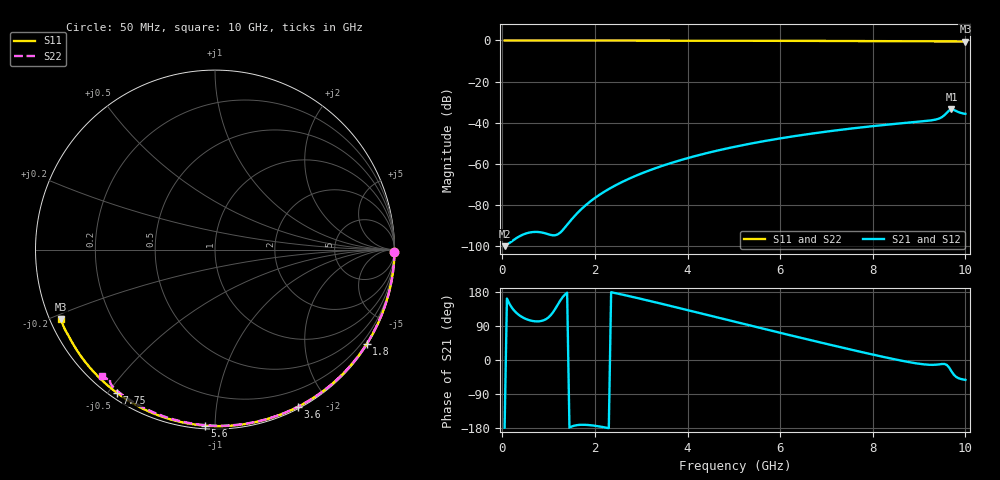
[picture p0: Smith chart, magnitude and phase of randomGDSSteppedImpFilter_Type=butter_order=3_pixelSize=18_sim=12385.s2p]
! freq	dB(S11)	phase(S11)	dB(S12)	phase(S12)
!  dB(S21)	phase(S21)	dB(S22)	phase(S22)
!S-par simulation data
#  GHz  S  DB  R 50
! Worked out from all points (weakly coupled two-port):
!   200 points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, 50 MHz to 10 GHz, reference 50 ohm
!   highest |S21| = -33.61 dB at 9.7 GHz (marker M1); lowest = -100.2 dB at 50 MHz (marker M2)
!   lowest |S11| = -0.5 dB at 10 GHz (marker M3), VSWR 33.98, Z = 1.54 - j10.7 ohm
!   |S11| at or under -10 dB: nowhere
!   |S22| runs from -0.7 to 0.0 dB; largest |S21 - S12| = 0
!   S11 on the Smith chart (normalised r, x): 50 MHz: open; 1.8 GHz: 0.03, -3.49; 3.6 GHz: 0.02, -1.66; 5.6 GHz: 0.02, -0.94; 7.75 GHz: 0.02, -0.53; 10 GHz: 0.03, -0.21
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0.05  -0.00 -0.9  -100.19 -178.5  -100.19 -178.5  -0.00 -0.8
0.85  -0.02 -15.3  -93.53 103.2  -93.53 103.2  -0.01 -12.9
1.75  -0.04 -31.1  -81.26 -170.9  -81.26 -170.9  -0.03 -26.3
1.8  -0.04 -32.0  -80.26 -171.1  -80.26 -171.1  -0.03 -27.1
2.15  -0.05 -38.0  -74.42 -176.5  -74.42 -176.5  -0.04 -32.2
2.5  -0.06 -44.0  -69.91 175.0  -69.91 175.0  -0.05 -37.3
2.9  -0.07 -50.7  -65.74 164.0  -65.74 164.0  -0.06 -43.1
3.4  -0.08 -59.0  -61.49 149.5  -61.49 149.5  -0.07 -50.2
3.6  -0.08 -62.3  -60.00 143.6  -60.00 143.6  -0.07 -53.0
4.3  -0.10 -73.5  -55.52 122.7  -55.52 122.7  -0.09 -62.6
5.05  -0.13 -85.1  -51.64 100.1  -51.64 100.1  -0.11 -72.6
5.6  -0.16 -93.4  -49.25 83.6  -49.25 83.6  -0.13 -79.8
6.7  -0.21 -109.4  -45.31 51.2  -45.31 51.2  -0.18 -93.6
7.75  -0.29 -124.3  -42.34 21.2  -42.34 21.2  -0.24 -106.3
8.35  -0.34 -132.7  -40.92 5.0  -40.92 5.0  -0.29 -113.4
9.15  -0.43 -143.8  -39.24 -12.1  -39.24 -12.1  -0.36 -122.8
9.35  -0.45 -146.6  -38.56 -12.6  -38.56 -12.6  -0.39 -125.3
9.5  -0.47 -148.6  -37.23 -10.5  -37.23 -10.5  -0.45 -127.4
9.65  -0.47 -150.7  -34.08 -20.1  -34.08 -20.1  -0.63 -128.9
9.7  -0.47 -151.4  -33.61 -30.0  -33.61 -30.0  -0.66 -128.9
9.9  -0.50 -154.3  -35.28 -50.0  -35.28 -50.0  -0.53 -130.4
10  -0.51 -155.8  -35.75 -52.6  -35.75 -52.6  -0.51 -131.7
